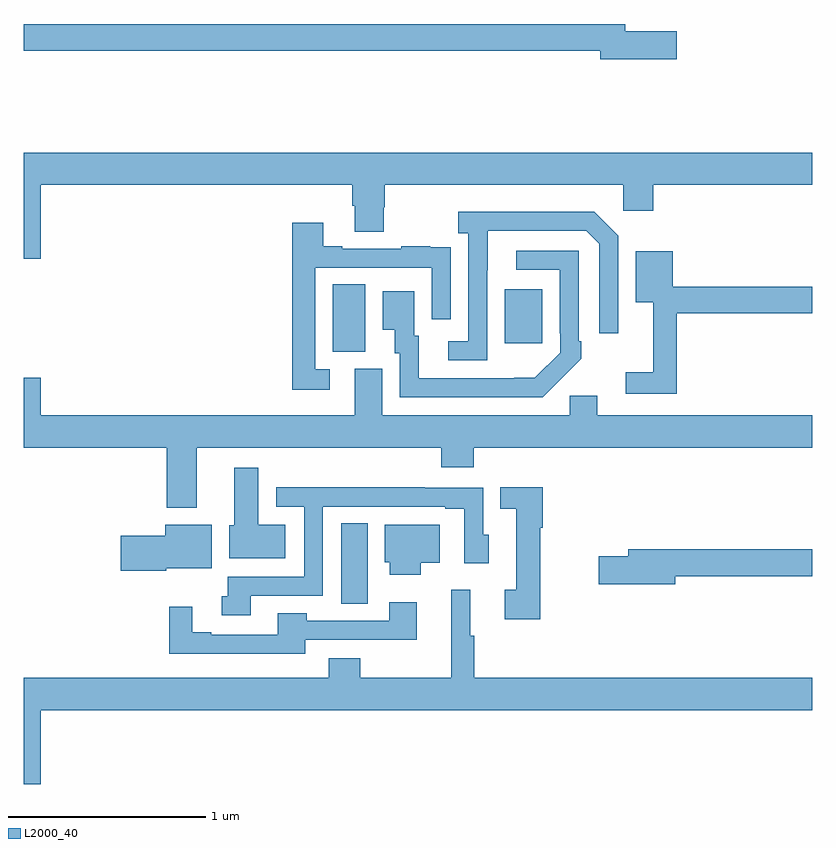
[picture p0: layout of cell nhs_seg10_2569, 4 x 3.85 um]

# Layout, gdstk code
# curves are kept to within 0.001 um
import gdstk
lib = gdstk.Library(unit=1e-6, precision=1e-09)
def R(c, l, rs):  # rectangles x0, y0, x1, y1
    for r in rs: c.add(gdstk.rectangle(r[:2], r[2:], *l))
def P(c, l, *ps):  # polygons
    for p in ps: c.add(gdstk.Polygon(p, *l))
L2000_40 = (2000, 40)

nhs_seg10_2569 = lib.new_cell('nhs_seg10_2569')
R(nhs_seg10_2569, L2000_40, [(250.61,1311.511,250.744,1311.92), (250.568,1312.789,250.732,1313.132), (251.441,1312.833,251.629,1313.107)])
P(nhs_seg10_2569, L2000_40, [(252.313,1314.416),(252.052,1314.416),(252.052,1314.452),(249,1314.452),(249,1314.316),(251.924,1314.316),(251.924,1314.274),(252.313,1314.274)],
  [(249.088,1313.636),(250.667,1313.636),(250.667,1313.53),(250.679,1313.53),(250.679,1313.398),(250.827,1313.398),(250.827,1313.523),(250.832,1313.523),(250.832,1313.636),(252.042,1313.636),(252.042,1313.505),(252.194,1313.505),(252.194,1313.636),(253,1313.636),(253,1313.8),(249,1313.8),(249,1313.262),(249.088,1313.262)],
  [(251.352,1313.203),(251.353,1313.403),(251.853,1313.403),(251.919,1313.337),(251.919,1312.884),(252.015,1312.884),(252.015,1313.379),(251.894,1313.5),(251.205,1313.5),(251.205,1313.39),(251.256,1313.39),(251.256,1312.842),(251.154,1312.842),(251.154,1312.746),(251.352,1312.746)],
  [(250.552,1312.701),(250.479,1312.701),(250.479,1313.217),(251.07,1313.217),(251.07,1312.956),(251.166,1312.956),(251.166,1313.21),(251.165,1313.21),(251.165,1313.319),(251.063,1313.319),(251.063,1313.326),(250.915,1313.326),(250.915,1313.313),(250.615,1313.313),(250.615,1313.326),(250.519,1313.326),(250.519,1313.443),(250.363,1313.443),(250.363,1312.596),(250.552,1312.596)],
  [(251.723,1312.651),(251.724,1312.65),(251.829,1312.755),(251.829,1312.843),(251.814,1312.843),(251.814,1313.301),(251.499,1313.301),(251.499,1313.205),(251.718,1313.205),(251.718,1312.885),(251.721,1312.885),(251.721,1312.785),(251.593,1312.657),(251.005,1312.656),(251.005,1312.872),(250.981,1312.872),(250.981,1313.098),(250.82,1313.098),(250.82,1312.901),(250.883,1312.901),(250.883,1312.782),(250.908,1312.782),(250.908,1312.56),(251.632,1312.56)],
  [(252.311,1312.984),(253,1312.984),(253,1313.12),(252.291,1313.12),(252.291,1313.299),(252.104,1313.299),(252.104,1313.042),(252.194,1313.042),(252.194,1312.687),(252.054,1312.687),(252.054,1312.578),(252.311,1312.578)],
  [(249.877,1312.304),(251.117,1312.304),(251.117,1312.205),(251.282,1312.205),(251.282,1312.304),(253,1312.304),(253,1312.468),(251.908,1312.468),(251.908,1312.566),(251.769,1312.566),(251.769,1312.468),(250.819,1312.468),(250.819,1312.704),(250.679,1312.704),(250.679,1312.468),(249.088,1312.468),(249.088,1312.657),(249,1312.657),(249,1312.304),(249.725,1312.304),(249.725,1311.999),(249.877,1311.999)],
  [(250.327,1311.913),(250.189,1311.913),(250.189,1312.201),(250.067,1312.201),(250.067,1311.909),(250.043,1311.909),(250.043,1311.743),(250.327,1311.743)],
  [(250.153,1311.552),(250.518,1311.552),(250.518,1312.005),(251.138,1312.005),(251.138,1311.993),(251.235,1311.993),(251.235,1311.717),(251.359,1311.717),(251.359,1311.861),(251.331,1311.861),(251.331,1312.101),(251.033,1312.101),(251.033,1312.103),(250.281,1312.103),(250.281,1312.005),(250.422,1312.005),(250.422,1311.648),(250.036,1311.648),(250.036,1311.551),(250.005,1311.551),(250.005,1311.453),(250.153,1311.453)],
  [(251.62,1311.898),(251.633,1311.898),(251.633,1312.103),(251.416,1312.103),(251.416,1311.993),(251.498,1311.993),(251.498,1311.582),(251.439,1311.582),(251.439,1311.434),(251.62,1311.434)],
  [(251.014,1311.719),(251.11,1311.719),(251.11,1311.913),(250.832,1311.913),(250.832,1311.723),(250.856,1311.723),(250.856,1311.659),(251.014,1311.659)],
  [(249.723,1311.692),(249.955,1311.692),(249.955,1311.913),(249.719,1311.913),(249.719,1311.858),(249.492,1311.858),(249.492,1311.68),(249.723,1311.68)],
  [(252.304,1311.652),(253,1311.652),(253,1311.788),(252.065,1311.788),(252.065,1311.752),(251.916,1311.752),(251.916,1311.61),(252.304,1311.61)],
  [(249.088,1310.972),(253,1310.972),(253,1311.136),(251.285,1311.136),(251.285,1311.351),(251.266,1311.351),(251.266,1311.583),(251.168,1311.583),(251.168,1311.136),(250.707,1311.136),(250.707,1311.235),(250.547,1311.235),(250.547,1311.136),(249,1311.136),(249,1310.598),(249.088,1310.598)],
  [(250.429,1311.33),(250.993,1311.33),(250.993,1311.52),(250.853,1311.52),(250.853,1311.426),(250.437,1311.426),(250.437,1311.463),(250.289,1311.463),(250.289,1311.354),(249.952,1311.354),(249.952,1311.367),(249.856,1311.367),(249.856,1311.496),(249.739,1311.496),(249.739,1311.258),(250.429,1311.258)])

lib.write_gds('nhs_seg10_2569.gds')
